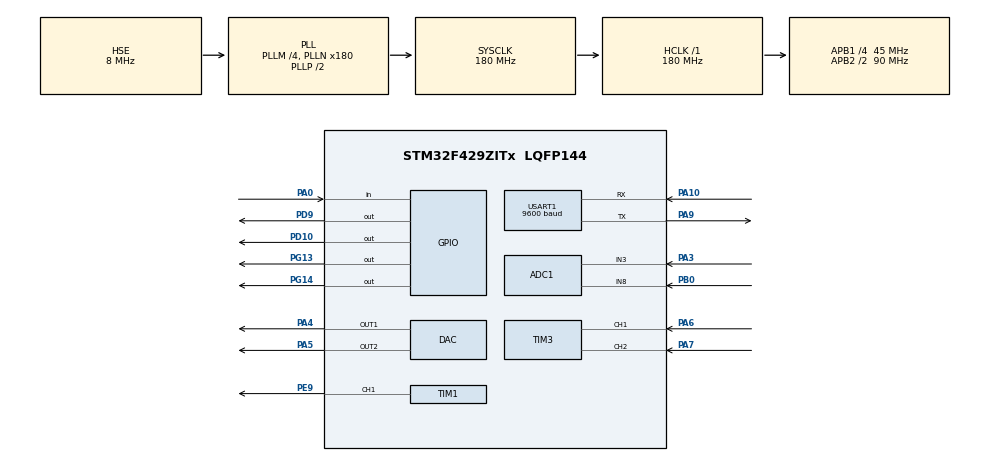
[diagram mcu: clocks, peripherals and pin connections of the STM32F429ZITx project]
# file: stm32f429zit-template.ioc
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ADC1.Channel-0\#ChannelRegularConversion=ADC_CHANNEL_8
ADC1.Channel-8\#ChannelRegularConversion=ADC_CHANNEL_3
ADC1.ContinuousConvMode=DISABLE
ADC1.DMAContinuousRequests=ENABLE
ADC1.EOCSelection=ADC_EOC_SINGLE_CONV
ADC1.ExternalTrigConv=ADC_EXTERNALTRIGCONV_T2_CC2
ADC1.ExternalTrigConvEdge=ADC_EXTERNALTRIGCONVEDGE_FALLING
ADC1.NbrOfConversion=2
ADC1.NbrOfConversionFlag=1
ADC1.Rank-0\#ChannelRegularConversion=1
ADC1.Rank-8\#ChannelRegularConversion=2
ADC1.SamplingTime-0\#ChannelRegularConversion=ADC_SAMPLETIME_15CYCLES
ADC1.SamplingTime-8\#ChannelRegularConversion=ADC_SAMPLETIME_15CYCLES
ADC1.master=1
Dma.ADC1.0.Direction=DMA_PERIPH_TO_MEMORY
Dma.ADC1.0.FIFOMode=DMA_FIFOMODE_DISABLE
Dma.ADC1.0.Instance=DMA2_Stream0
Dma.ADC1.0.MemDataAlignment=DMA_MDATAALIGN_HALFWORD
Dma.ADC1.0.MemInc=DMA_MINC_ENABLE
Dma.ADC1.0.Mode=DMA_CIRCULAR
Dma.ADC1.0.PeriphDataAlignment=DMA_PDATAALIGN_HALFWORD
Dma.ADC1.0.PeriphInc=DMA_PINC_DISABLE
Dma.ADC1.0.Priority=DMA_PRIORITY_LOW
Dma.Request0=ADC1
FREERTOS.Tasks01=defaultTask,24,128,StartDefaultTask,Default,NULL,Dynamic,NULL,NULL
FREERTOS.configUSE_NEWLIB_REENTRANT=1
Mcu.Family=STM32F4
Mcu.Name=STM32F429ZITx
Mcu.Package=LQFP144
NVIC.ADC_IRQn=true\:5\:0\:false\:false\:true\:true\:true\:true\:true
NVIC.DMA2_Stream0_IRQn=true\:5\:0\:false\:false\:true\:true\:false\:true\:true
NVIC.PriorityGroup=NVIC_PRIORITYGROUP_4
NVIC.TIM2_IRQn=true\:5\:0\:false\:false\:true\:true\:true\:true\:true
NVIC.TIM3_IRQn=true\:5\:0\:false\:false\:true\:true\:true\:true\:true
NVIC.TIM6_DAC_IRQn=true\:5\:0\:false\:false\:true\:false\:false\:true\:true
NVIC.TIM7_IRQn=true\:5\:0\:false\:false\:true\:true\:true\:true\:true
NVIC.TIM8_TRG_COM_TIM14_IRQn=true\:15\:0\:false\:false\:true\:false\:false\:true\:true
NVIC.TIM8_UP_TIM13_IRQn=true\:5\:0\:false\:false\:true\:false\:true\:true\:true
NVIC.TimeBase=TIM8_TRG_COM_TIM14_IRQn
NVIC.TimeBaseIP=TIM14
NVIC.USART1_IRQn=true\:5\:0\:false\:false\:true\:true\:true\:true\:true
PA0/WKUP.Signal=GPIO_Input
PA10.Mode=Asynchronous
PA10.Signal=USART1_RX
PA13.Mode=Serial_Wire
PA13.Signal=SYS_JTMS-SWDIO
PA14.Mode=Serial_Wire
PA14.Signal=SYS_JTCK-SWCLK
PA3.Signal=ADCx_IN3
PA4.Signal=COMP_DAC1_group
PA5.Signal=COMP_DAC2_group
PA6.Signal=S_TIM3_CH1
PA7.Signal=S_TIM3_CH2
PA9.Mode=Asynchronous
PA9.Signal=USART1_TX
PB0.Signal=ADCx_IN8
PD10.Signal=GPIO_Output
PD9.Signal=GPIO_Output
PE9.Signal=S_TIM1_CH1
PG13.Signal=GPIO_Output
PG14.Signal=GPIO_Output
PH0/OSC_IN.Mode=HSE-External-Oscillator
PH0/OSC_IN.Signal=RCC_OSC_IN
PH1/OSC_OUT.Mode=HSE-External-Oscillator
PH1/OSC_OUT.Signal=RCC_OSC_OUT
ProjectManager.HeapSize=0x200
ProjectManager.StackSize=0x400
ProjectManager.TargetToolchain=STM32CubeIDE
RCC.48MHZClocksFreq_Value=90000000
RCC.AHBFreq_Value=180000000
RCC.APB1CLKDivider=RCC_HCLK_DIV4
RCC.APB1Freq_Value=45000000
RCC.APB1TimFreq_Value=90000000
RCC.APB2CLKDivider=RCC_HCLK_DIV2
RCC.APB2Freq_Value=90000000
RCC.APB2TimFreq_Value=180000000
RCC.CortexFreq_Value=180000000
RCC.HCLKFreq_Value=180000000
RCC.HSE_VALUE=8000000
RCC.HSI_VALUE=16000000
RCC.LSE_VALUE=32768
RCC.PLLM=4
RCC.PLLN=180
RCC.PLLSourceVirtual=RCC_PLLSOURCE_HSE
RCC.SYSCLKFreq_VALUE=180000000
RCC.SYSCLKSource=RCC_SYSCLKSOURCE_PLLCLK
RCC.VCOOutputFreq_Value=360000000
SH.ADCx_IN3.0=ADC1_IN3,IN3
SH.ADCx_IN8.0=ADC1_IN8,IN8
SH.COMP_DAC1_group.0=DAC_OUT1,DAC_OUT1
SH.COMP_DAC2_group.0=DAC_OUT2,DAC_OUT2
SH.S_TIM1_CH1.0=TIM1_CH1,PWM Generation1 CH1
SH.S_TIM3_CH1.0=TIM3_CH1,Encoder_Interface
SH.S_TIM3_CH2.0=TIM3_CH2,Encoder_Interface
TIM1.Channel-PWM\ Generation1\ CH1=TIM_CHANNEL_1
TIM1.CounterMode=TIM_COUNTERMODE_CENTERALIGNED1
TIM1.TIM_MasterOutputTrigger=TIM_TRGO_UPDATE
TIM1.TIM_MasterSlaveMode=TIM_MASTERSLAVEMODE_ENABLE
TIM13.Period=900-1
TIM2.Channel-PWM\ Generation2\ No\ Output=TIM_CHANNEL_2
TIM3.EncoderMode=TIM_ENCODERMODE_TI12
TIM3.IC1Filter=8
TIM3.IC2Filter=8
TIM7.Period=10-1
TIM7.Prescaler=9000-1
USART1.BaudRate=9600
USART1.VirtualMode=VM_ASYNC
VP_FREERTOS_VS_CMSIS_V2.Mode=CMSIS_V2
VP_SYS_VS_tim14.Mode=TIM14
VP_TIM13_VS_ClockSourceINT.Mode=Enable_Timer
VP_TIM2_VS_ClockSourceITR.Mode=TriggerSource_ITR0
VP_TIM2_VS_ControllerModeReset.Mode=Reset Mode
VP_TIM2_VS_no_output2.Mode=PWM Generation2 No Output
VP_TIM7_VS_ClockSourceINT.Mode=Enable_Timer
board=custom

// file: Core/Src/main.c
/* USER CODE BEGIN Header */
/**
  ******************************************************************************
  * @file           : main.c
  * @brief          : Main program body
  ******************************************************************************
  * @attention
  *
  * Copyright (c) 2024 STMicroelectronics.
  * All rights reserved.
  *
  * This software is licensed under terms that can be found in the LICENSE file
  * in the root directory of this software component.
  * If no LICENSE file comes with this software, it is provided AS-IS.
  *
  ******************************************************************************
  */
/* USER CODE END Header */
#include "main.h"
#include "cmsis_os.h"

/* USER CODE BEGIN Includes */
#include "virtual_motor.h"
#include "arm_math.h"
#include <stdlib.h>
#include <stdbool.h>
#include <string.h>
/* USER CODE END Includes */

/* USER CODE BEGIN PTD */
typedef enum
{
  MODE_OPEN_LOOP = 0,
  MODE_CLOSED_LOOP,
} control_mode_t;

typedef struct
{
  float duty_cycle;
  float meas_current;
  float meas_current_unfiltered;
  float meas_velocity;
  float meas_velocity_unfiltered;
  float meas_velocity_rpm;
  float meas_voltage;
  float target;

  control_mode_t control_mode;
  arm_pid_instance_f32 reg_velocity;
  float target_voltage;
  float target_rpm;

  bool emergency_flag;
} dcmotor_t;

typedef struct
{
  float angle;
  uint32_t capture_cnt;
  int dir;
} encoder_t;
/* USER CODE END PTD */

/* USER CODE BEGIN PD */
#define UART_RX_BUF_SIZE 32
#define UART_TX_BUF_SIZE 64
/* USER CODE END PD */

/* USER CODE BEGIN PM */
#define UTILS_LP_FAST(value, sample, filter_constant) (value -= (filter_constant) * ((value) - (sample)))
/* USER CODE END PM */

ADC_HandleTypeDef hadc1;
DMA_HandleTypeDef hdma_adc1;

DAC_HandleTypeDef hdac;

TIM_HandleTypeDef htim1;
TIM_HandleTypeDef htim2;
TIM_HandleTypeDef htim3;
TIM_HandleTypeDef htim7;
TIM_HandleTypeDef htim13;

UART_HandleTypeDef huart1;

/* Definitions for defaultTask */
osThreadId_t defaultTaskHandle;
const osThreadAttr_t defaultTask_attributes = {
  .name = "defaultTask",
  .stack_size = 128 * 4,
  .priority = (osPriority_t) osPriorityNormal,
};
/* USER CODE BEGIN PV */
uint16_t adc_values[2] = {0};
uint16_t adc_sample_flag = 0;
uint8_t uart_byte = 0;

encoder_t encoder = {0};
dcmotor_t dcmotor = {0};

osThreadId_t voltageMeasTaskHandle;
const osThreadAttr_t voltageMeasTask_attributes = {
  .name = "voltageMeasTask",
  .stack_size = 128 * 2,
  .priority = (osPriority_t) osPriorityNormal1,
};

osThreadId_t btnTaskHandle;
const osThreadAttr_t btnTask_attributes = {
  .name = "btnTask",
  .stack_size = 128 * 1,
  .priority = (osPriority_t) osPriorityNormal1,
};

osThreadId_t emergencyTaskHandle;
const osThreadAttr_t emergencyTask_attributes = {
  .name = "emergencyTask",
  .stack_size = 128 * 2,
  .priority = (osPriority_t) osPriorityHigh,
};

osThreadId_t uartTaskHandle;
const osThreadAttr_t uartTask_attributes = {
  .name = "uartTask",
  .stack_size = 128 * 4,
  .priority = (osPriority_t) osPriorityBelowNormal,
};

/* Объявление очереди сообщений UART */
osMessageQueueId_t uartQueue = NULL;
/* Объявление семафора */
osSemaphoreId_t emergencySem = NULL;
/* USER CODE END PV */

void SystemClock_Config(void);
static void MX_GPIO_Init(void);
static void MX_DMA_Init(void);
static void MX_TIM7_Init(void);
static void MX_TIM1_Init(void);
static void MX_ADC1_Init(void);
static void MX_TIM2_Init(void);
static void MX_TIM3_Init(void);
static void MX_USART1_UART_Init(void);
static void MX_TIM13_Init(void);
static void MX_DAC_Init(void);
void StartDefaultTask(void *argument);

/* USER CODE BEGIN PFP */
int parse_int_command(char *command);
void control_loop();

void voltageMeasTask(void *argument);
void emergencyTask(void *argument);
void uartTask(void *argument);
void btnTask(void *argument);
/* USER CODE END PFP */

int main(void)
{

  /* MCU Configuration--------------------------------------------------------*/

  /* Reset of all peripherals, Initializes the Flash interface and the Systick. */
  HAL_Init();

  /* Configure the system clock */
  SystemClock_Config();

  /* Initialize all configured peripherals */
  MX_GPIO_Init();
  MX_DMA_Init();
  MX_TIM7_Init();
  MX_TIM1_Init();
  MX_ADC1_Init();
  MX_TIM2_Init();
  MX_TIM3_Init();
  MX_USART1_UART_Init();
  MX_TIM13_Init();
  MX_DAC_Init();
  /* USER CODE BEGIN 2 */
  virtual_motor_reinit();

  dcmotor.control_mode = MODE_CLOSED_LOOP;

  dcmotor.reg_velocity.Kp = 0.01f;
  dcmotor.reg_velocity.Ki = 0.00005f;
  dcmotor.reg_velocity.Kd = 0.0f;
  arm_pid_init_f32(&dcmotor.reg_velocity, 1);

  HAL_TIM_Base_Start_IT(&htim7);

  HAL_TIM_Encoder_Start_IT(&htim3, TIM_CHANNEL_1);
  HAL_TIM_Encoder_Start_IT(&htim3, TIM_CHANNEL_2);

  HAL_ADC_Start_DMA(&hadc1, (uint32_t*)adc_values, 2);

  TIM2->PSC = 9 - 1;
  TIM2->CCR2 = 0xf;
  HAL_TIM_PWM_Start_IT(&htim2, TIM_CHANNEL_2);

  TIM1->ARR = (SystemCoreClock / 5000 / 2) - 1; // 5 KHz PWM
  TIM1->CCR1 = (uint16_t)(0.25f * (float)TIM1->ARR);
  HAL_TIM_PWM_Start(&htim1, TIM_CHANNEL_1);

  HAL_UART_Receive_IT(&huart1, &uart_byte, sizeof(uart_byte));
  /* USER CODE END 2 */

  /* Init scheduler */
  osKernelInitialize();

  /* USER CODE BEGIN RTOS_SEMAPHORES */
  /* add semaphores, ... */
  emergencySem = osSemaphoreNew(1, 0, NULL);
  /* USER CODE END RTOS_SEMAPHORES */

  /* USER CODE BEGIN RTOS_QUEUES */
  /* add queues, ... */
  // Создаем очередь для UART сообщений
  uartQueue = osMessageQueueNew(5, UART_RX_BUF_SIZE, NULL);
  /* USER CODE END RTOS_QUEUES */

  /* Create the thread(s) */
  /* creation of defaultTask */
  defaultTaskHandle = osThreadNew(StartDefaultTask, NULL, &defaultTask_attributes);

  /* USER CODE BEGIN RTOS_THREADS */
  /* add threads, ... */
  // add freertos time measurements
  emergencyTaskHandle = osThreadNew(emergencyTask, NULL, &emergencyTask_attributes);
  uartTaskHandle = osThreadNew(uartTask, NULL, &uartTask_attributes);
  btnTaskHandle = osThreadNew(btnTask, NULL, &btnTask_attributes);
  voltageMeasTaskHandle = osThreadNew(voltageMeasTask, NULL, &voltageMeasTask_attributes);
  /* USER CODE END RTOS_THREADS */

  /* Start scheduler */
  osKernelStart();

  /* We should never get here as control is now taken by the scheduler */
  /* Infinite loop */
  while (1)
  {

  }
}

void SystemClock_Config(void)
{
  RCC_OscInitTypeDef RCC_OscInitStruct = {0};
  RCC_ClkInitTypeDef RCC_ClkInitStruct = {0};

  /** Configure the main internal regulator output voltage
  */
  __HAL_RCC_PWR_CLK_ENABLE();
  __HAL_PWR_VOLTAGESCALING_CONFIG(PWR_REGULATOR_VOLTAGE_SCALE1);

  /** Initializes the RCC Oscillators according to the specified parameters
  * in the RCC_OscInitTypeDef structure.
  */
  RCC_OscInitStruct.OscillatorType = RCC_OSCILLATORTYPE_HSE;
  RCC_OscInitStruct.HSEState = RCC_HSE_ON;
  RCC_OscInitStruct.PLL.PLLState = RCC_PLL_ON;
  RCC_OscInitStruct.PLL.PLLSource = RCC_PLLSOURCE_HSE;
  RCC_OscInitStruct.PLL.PLLM = 4;
  RCC_OscInitStruct.PLL.PLLN = 180;
  RCC_OscInitStruct.PLL.PLLP = RCC_PLLP_DIV2;
  RCC_OscInitStruct.PLL.PLLQ = 4;
  if (HAL_RCC_OscConfig(&RCC_OscInitStruct) != HAL_OK)
  {
    Error_Handler();
  }

  /** Activate the Over-Drive mode
  */
  if (HAL_PWREx_EnableOverDrive() != HAL_OK)
  {
    Error_Handler();
  }

  /** Initializes the CPU, AHB and APB buses clocks
  */
  RCC_ClkInitStruct.ClockType = RCC_CLOCKTYPE_HCLK|RCC_CLOCKTYPE_SYSCLK
                              |RCC_CLOCKTYPE_PCLK1|RCC_CLOCKTYPE_PCLK2;
  RCC_ClkInitStruct.SYSCLKSource = RCC_SYSCLKSOURCE_PLLCLK;
  RCC_ClkInitStruct.AHBCLKDivider = RCC_SYSCLK_DIV1;
  RCC_ClkInitStruct.APB1CLKDivider = RCC_HCLK_DIV4;
  RCC_ClkInitStruct.APB2CLKDivider = RCC_HCLK_DIV2;

  if (HAL_RCC_ClockConfig(&RCC_ClkInitStruct, FLASH_LATENCY_5) != HAL_OK)
  {
    Error_Handler();
  }
}

static void MX_ADC1_Init(void)
{

  ADC_ChannelConfTypeDef sConfig = {0};

  /** Configure the global features of the ADC (Clock, Resolution, Data Alignment and number of conversion)
  */
  hadc1.Instance = ADC1;
  hadc1.Init.ClockPrescaler = ADC_CLOCK_SYNC_PCLK_DIV4;
  hadc1.Init.Resolution = ADC_RESOLUTION_12B;
  hadc1.Init.ScanConvMode = ENABLE;
  hadc1.Init.ContinuousConvMode = DISABLE;
  hadc1.Init.DiscontinuousConvMode = DISABLE;
  hadc1.Init.ExternalTrigConvEdge = ADC_EXTERNALTRIGCONVEDGE_FALLING;
  hadc1.Init.ExternalTrigConv = ADC_EXTERNALTRIGCONV_T2_CC2;
  hadc1.Init.DataAlign = ADC_DATAALIGN_RIGHT;
  hadc1.Init.NbrOfConversion = 2;
  hadc1.Init.DMAContinuousRequests = ENABLE;
  hadc1.Init.EOCSelection = ADC_EOC_SINGLE_CONV;
  if (HAL_ADC_Init(&hadc1) != HAL_OK)
  {
    Error_Handler();
  }

  /** Configure for the selected ADC regular channel its corresponding rank in the sequencer and its sample time.
  */
  sConfig.Channel = ADC_CHANNEL_8;
  sConfig.Rank = 1;
  sConfig.SamplingTime = ADC_SAMPLETIME_15CYCLES;
  if (HAL_ADC_ConfigChannel(&hadc1, &sConfig) != HAL_OK)
  {
    Error_Handler();
  }

  /** Configure for the selected ADC regular channel its corresponding rank in the sequencer and its sample time.
  */
  sConfig.Channel = ADC_CHANNEL_3;
  sConfig.Rank = 2;
  if (HAL_ADC_ConfigChannel(&hadc1, &sConfig) != HAL_OK)
  {
    Error_Handler();
  }

}

static void MX_DAC_Init(void)
{

  DAC_ChannelConfTypeDef sConfig = {0};

  /** DAC Initialization
  */
  hdac.Instance = DAC;
  if (HAL_DAC_Init(&hdac) != HAL_OK)
  {
    Error_Handler();
  }

  /** DAC channel OUT1 config
  */
  sConfig.DAC_Trigger = DAC_TRIGGER_NONE;
  sConfig.DAC_OutputBuffer = DAC_OUTPUTBUFFER_ENABLE;
  if (HAL_DAC_ConfigChannel(&hdac, &sConfig, DAC_CHANNEL_1) != HAL_OK)
  {
    Error_Handler();
  }

  /** DAC channel OUT2 config
  */
  if (HAL_DAC_ConfigChannel(&hdac, &sConfig, DAC_CHANNEL_2) != HAL_OK)
  {
    Error_Handler();
  }

}

static void MX_TIM1_Init(void)
{

  TIM_MasterConfigTypeDef sMasterConfig = {0};
  TIM_OC_InitTypeDef sConfigOC = {0};
  TIM_BreakDeadTimeConfigTypeDef sBreakDeadTimeConfig = {0};

  htim1.Instance = TIM1;
  htim1.Init.Prescaler = 0;
  htim1.Init.CounterMode = TIM_COUNTERMODE_CENTERALIGNED1;
  htim1.Init.Period = 65535;
  htim1.Init.ClockDivision = TIM_CLOCKDIVISION_DIV1;
  htim1.Init.RepetitionCounter = 0;
  htim1.Init.AutoReloadPreload = TIM_AUTORELOAD_PRELOAD_DISABLE;
  if (HAL_TIM_PWM_Init(&htim1) != HAL_OK)
  {
    Error_Handler();
  }
  sMasterConfig.MasterOutputTrigger = TIM_TRGO_UPDATE;
  sMasterConfig.MasterSlaveMode = TIM_MASTERSLAVEMODE_ENABLE;
  if (HAL_TIMEx_MasterConfigSynchronization(&htim1, &sMasterConfig) != HAL_OK)
  {
    Error_Handler();
  }
  sConfigOC.OCMode = TIM_OCMODE_PWM1;
  sConfigOC.Pulse = 0;
  sConfigOC.OCPolarity = TIM_OCPOLARITY_HIGH;
  sConfigOC.OCNPolarity = TIM_OCNPOLARITY_HIGH;
  sConfigOC.OCFastMode = TIM_OCFAST_DISABLE;
  sConfigOC.OCIdleState = TIM_OCIDLESTATE_RESET;
  sConfigOC.OCNIdleState = TIM_OCNIDLESTATE_RESET;
  if (HAL_TIM_PWM_ConfigChannel(&htim1, &sConfigOC, TIM_CHANNEL_1) != HAL_OK)
  {
    Error_Handler();
  }
  sBreakDeadTimeConfig.OffStateRunMode = TIM_OSSR_DISABLE;
  sBreakDeadTimeConfig.OffStateIDLEMode = TIM_OSSI_DISABLE;
  sBreakDeadTimeConfig.LockLevel = TIM_LOCKLEVEL_OFF;
  sBreakDeadTimeConfig.DeadTime = 0;
  sBreakDeadTimeConfig.BreakState = TIM_BREAK_DISABLE;
  sBreakDeadTimeConfig.BreakPolarity = TIM_BREAKPOLARITY_HIGH;
  sBreakDeadTimeConfig.AutomaticOutput = TIM_AUTOMATICOUTPUT_DISABLE;
  if (HAL_TIMEx_ConfigBreakDeadTime(&htim1, &sBreakDeadTimeConfig) != HAL_OK)
  {
    Error_Handler();
  }
  HAL_TIM_MspPostInit(&htim1);

}

static void MX_TIM2_Init(void)
{

  TIM_SlaveConfigTypeDef sSlaveConfig = {0};
  TIM_MasterConfigTypeDef sMasterConfig = {0};
  TIM_OC_InitTypeDef sConfigOC = {0};

  htim2.Instance = TIM2;
  htim2.Init.Prescaler = 0;
  htim2.Init.CounterMode = TIM_COUNTERMODE_UP;
  htim2.Init.Period = 4294967295;
  htim2.Init.ClockDivision = TIM_CLOCKDIVISION_DIV1;
  htim2.Init.AutoReloadPreload = TIM_AUTORELOAD_PRELOAD_DISABLE;
  if (HAL_TIM_Base_Init(&htim2) != HAL_OK)
  {
    Error_Handler();
  }
  if (HAL_TIM_PWM_Init(&htim2) != HAL_OK)
  {
    Error_Handler();
  }
  sSlaveConfig.SlaveMode = TIM_SLAVEMODE_RESET;
  sSlaveConfig.InputTrigger = TIM_TS_ITR0;
  if (HAL_TIM_SlaveConfigSynchro(&htim2, &sSlaveConfig) != HAL_OK)
  {
    Error_Handler();
  }
  sMasterConfig.MasterOutputTrigger = TIM_TRGO_RESET;
  sMasterConfig.MasterSlaveMode = TIM_MASTERSLAVEMODE_DISABLE;
  if (HAL_TIMEx_MasterConfigSynchronization(&htim2, &sMasterConfig) != HAL_OK)
  {
    Error_Handler();
  }
  sConfigOC.OCMode = TIM_OCMODE_PWM1;
  sConfigOC.Pulse = 0;
  sConfigOC.OCPolarity = TIM_OCPOLARITY_HIGH;
  sConfigOC.OCFastMode = TIM_OCFAST_DISABLE;
  if (HAL_TIM_PWM_ConfigChannel(&htim2, &sConfigOC, TIM_CHANNEL_2) != HAL_OK)
  {
    Error_Handler();
  }

}

static void MX_TIM3_Init(void)
{

  TIM_Encoder_InitTypeDef sConfig = {0};
  TIM_MasterConfigTypeDef sMasterConfig = {0};

  htim3.Instance = TIM3;
  htim3.Init.Prescaler = 0;
  htim3.Init.CounterMode = TIM_COUNTERMODE_UP;
  htim3.Init.Period = 65535;
  htim3.Init.ClockDivision = TIM_CLOCKDIVISION_DIV1;
  htim3.Init.AutoReloadPreload = TIM_AUTORELOAD_PRELOAD_DISABLE;
  sConfig.EncoderMode = TIM_ENCODERMODE_TI12;
  sConfig.IC1Polarity = TIM_ICPOLARITY_RISING;
  sConfig.IC1Selection = TIM_ICSELECTION_DIRECTTI;
  sConfig.IC1Prescaler = TIM_ICPSC_DIV1;
  sConfig.IC1Filter = 8;
  sConfig.IC2Polarity = TIM_ICPOLARITY_RISING;
  sConfig.IC2Selection = TIM_ICSELECTION_DIRECTTI;
  sConfig.IC2Prescaler = TIM_ICPSC_DIV1;
  sConfig.IC2Filter = 8;
  if (HAL_TIM_Encoder_Init(&htim3, &sConfig) != HAL_OK)
  {
    Error_Handler();
  }
  sMasterConfig.MasterOutputTrigger = TIM_TRGO_RESET;
  sMasterConfig.MasterSlaveMode = TIM_MASTERSLAVEMODE_DISABLE;
  if (HAL_TIMEx_MasterConfigSynchronization(&htim3, &sMasterConfig) != HAL_OK)
  {
    Error_Handler();
  }

}

static void MX_TIM7_Init(void)
{

  TIM_MasterConfigTypeDef sMasterConfig = {0};

  htim7.Instance = TIM7;
  htim7.Init.Prescaler = 9000-1;
  htim7.Init.CounterMode = TIM_COUNTERMODE_UP;
  htim7.Init.Period = 10-1;
  htim7.Init.AutoReloadPreload = TIM_AUTORELOAD_PRELOAD_DISABLE;
  if (HAL_TIM_Base_Init(&htim7) != HAL_OK)
  {
    Error_Handler();
  }
  sMasterConfig.MasterOutputTrigger = TIM_TRGO_RESET;
  sMasterConfig.MasterSlaveMode = TIM_MASTERSLAVEMODE_DISABLE;
  if (HAL_TIMEx_MasterConfigSynchronization(&htim7, &sMasterConfig) != HAL_OK)
  {
    Error_Handler();
  }

}

static void MX_TIM13_Init(void)
{

  htim13.Instance = TIM13;
  htim13.Init.Prescaler = 0;
  htim13.Init.CounterMode = TIM_COUNTERMODE_UP;
  htim13.Init.Period = 900-1;
  htim13.Init.ClockDivision = TIM_CLOCKDIVISION_DIV1;
  htim13.Init.AutoReloadPreload = TIM_AUTORELOAD_PRELOAD_DISABLE;
  if (HAL_TIM_Base_Init(&htim13) != HAL_OK)
  {
    Error_Handler();
  }

}

static void MX_USART1_UART_Init(void)
{

  huart1.Instance = USART1;
  huart1.Init.BaudRate = 9600;
  huart1.Init.WordLength = UART_WORDLENGTH_8B;
  huart1.Init.StopBits = UART_STOPBITS_1;
  huart1.Init.Parity = UART_PARITY_NONE;
  huart1.Init.Mode = UART_MODE_TX_RX;
  huart1.Init.HwFlowCtl = UART_HWCONTROL_NONE;
  huart1.Init.OverSampling = UART_OVERSAMPLING_16;
  if (HAL_UART_Init(&huart1) != HAL_OK)
  {
    Error_Handler();
  }

}

static void MX_DMA_Init(void)
{

  /* DMA controller clock enable */
  __HAL_RCC_DMA2_CLK_ENABLE();

  /* DMA interrupt init */
  /* DMA2_Stream0_IRQn interrupt configuration */
  HAL_NVIC_SetPriority(DMA2_Stream0_IRQn, 5, 0);
  HAL_NVIC_EnableIRQ(DMA2_Stream0_IRQn);

}

static void MX_GPIO_Init(void)
{
  GPIO_InitTypeDef GPIO_InitStruct = {0};

  /* GPIO Ports Clock Enable */
  __HAL_RCC_GPIOH_CLK_ENABLE();
  __HAL_RCC_GPIOA_CLK_ENABLE();
  __HAL_RCC_GPIOB_CLK_ENABLE();
  __HAL_RCC_GPIOE_CLK_ENABLE();
  __HAL_RCC_GPIOD_CLK_ENABLE();
  __HAL_RCC_GPIOG_CLK_ENABLE();

  /*Configure GPIO pin Output Level */
  HAL_GPIO_WritePin(GPIOD, GPIO_PIN_9|GPIO_PIN_10, GPIO_PIN_RESET);

  /*Configure GPIO pin Output Level */
  HAL_GPIO_WritePin(GPIOG, GPIO_PIN_13|GPIO_PIN_14, GPIO_PIN_RESET);

  /*Configure GPIO pin : PA0 */
  GPIO_InitStruct.Pin = GPIO_PIN_0;
  GPIO_InitStruct.Mode = GPIO_MODE_INPUT;
  GPIO_InitStruct.Pull = GPIO_NOPULL;
  HAL_GPIO_Init(GPIOA, &GPIO_InitStruct);

  /*Configure GPIO pins : PD9 PD10 */
  GPIO_InitStruct.Pin = GPIO_PIN_9|GPIO_PIN_10;
  GPIO_InitStruct.Mode = GPIO_MODE_OUTPUT_PP;
  GPIO_InitStruct.Pull = GPIO_NOPULL;
  GPIO_InitStruct.Speed = GPIO_SPEED_FREQ_LOW;
  HAL_GPIO_Init(GPIOD, &GPIO_InitStruct);

  /*Configure GPIO pins : PG13 PG14 */
  GPIO_InitStruct.Pin = GPIO_PIN_13|GPIO_PIN_14;
  GPIO_InitStruct.Mode = GPIO_MODE_OUTPUT_PP;
  GPIO_InitStruct.Pull = GPIO_NOPULL;
  GPIO_InitStruct.Speed = GPIO_SPEED_FREQ_LOW;
  HAL_GPIO_Init(GPIOG, &GPIO_InitStruct);

}

/* USER CODE BEGIN 4 */
void HAL_UART_RxCpltCallback(UART_HandleTypeDef *huart)
{
  static char rx_buf[UART_RX_BUF_SIZE] = {0};
  static int rx_buf_idx = 0;

  if (huart != &huart1)
  {
    return;
  }

  if (rx_buf_idx >= UART_RX_BUF_SIZE)
  {
    // Произошло переполнение буфера
    rx_buf_idx = 0;
    memset((void *)rx_buf, 0, UART_RX_BUF_SIZE);
  }

  rx_buf[rx_buf_idx++] = uart_byte;

  if ((rx_buf_idx > 2) && (rx_buf[rx_buf_idx - 2] == '\r') && (rx_buf[rx_buf_idx - 1] == '\n'))
  {
	// Записываем сообщение в очередь
	osMessageQueuePut(uartQueue, (void*) rx_buf, 0, 0);

	// Очищаем буфер
    rx_buf_idx = 0;
    memset((void *)rx_buf, 0, UART_RX_BUF_SIZE);
  }

  // Снова включаем приём 1 байта по прерыванию
  HAL_UART_Receive_IT(&huart1, &uart_byte, sizeof(uart_byte));
}

void HAL_TIM_IC_CaptureCallback(TIM_HandleTypeDef *htim)
{
  if (htim == &htim3)
  {
    if (htim3.Channel == HAL_TIM_ACTIVE_CHANNEL_1)
    {
      encoder.capture_cnt++;
      if (TIM3->CR1 & TIM_CR1_DIR)
      {
        encoder.dir = -1;
      }
      else
      {
        encoder.dir = 1;
      }
    }
  }
}

void HAL_ADC_ConvCpltCallback(ADC_HandleTypeDef *hadc) {

	if (hadc == &hadc1) {
		if (!(TIM1->CR1 & TIM_CR1_DIR)) {
			adc_sample_flag = (adc_sample_flag == 0) ? (0xfff + 0xff) : 0;

			/*
			    ADC step voltage = 3.3 / 4096 ≈ 0.00080586 V per step
			    I = (min) + (V_ADC / 3.3) * (max - min)
			    V_ADC = ADC_value * 0.00080586
			    I = -50 + ((ADC_value * 0.00080586) / 3.3) * 100
			    I = -50 + (ADC_value * 0.00080586 * 100) / 3.3
			    I = -50 + ADC_value * 0.0244
			 */
			dcmotor.meas_current_unfiltered = -50.0f + adc_values[0] * 0.0244f;
			UTILS_LP_FAST(dcmotor.meas_current, dcmotor.meas_current_unfiltered, 0.01f);

			if (dcmotor.meas_current > 10.0f && !dcmotor.emergency_flag) {
				osSemaphoreRelease(emergencySem);
			}
		}
	}
}

void control_loop() {
	if (dcmotor.target == 0.0f || dcmotor.emergency_flag)
	{
		dcmotor.target_voltage = 0.0f;
		dcmotor.duty_cycle = 0.0f;
		TIM1->CCR1 = 0;
		return;
	}
	switch (dcmotor.control_mode)
	{
	case MODE_OPEN_LOOP:
	{
		dcmotor.target_voltage = V_BUS * dcmotor.target;
		dcmotor.duty_cycle = dcmotor.target;
		break;
	}
	case MODE_CLOSED_LOOP:
	{
		dcmotor.target_rpm = (dcmotor.target * RPM_MAX);
		float target_vel = dcmotor.target_rpm / 9.549297f;

		arm_pid_f32(&dcmotor.reg_velocity, target_vel - dcmotor.meas_velocity);
		if (dcmotor.reg_velocity.state[2] > V_BUS)
		{
			dcmotor.reg_velocity.state[2] = V_BUS;
		}
		else if (dcmotor.reg_velocity.state[2] < 0.0f)
		{
			dcmotor.reg_velocity.state[2] = 0.0f;
		}
		dcmotor.target_voltage = dcmotor.reg_velocity.state[2];
		dcmotor.duty_cycle = dcmotor.target_voltage / V_BUS;
		break;
	}
	}

	TIM1->CCR1 = (uint16_t)(dcmotor.duty_cycle * (float)TIM1->ARR);
}

int parse_int_command(char *command)
{
  // Find the first underscore
  const char *first_underscore = strchr(command, '_');
  if (first_underscore)
  {
    // Find the second underscore
    const char *second_underscore = strchr(first_underscore + 1, '_');
    if (second_underscore)
    {
      const char *num_str = second_underscore + 1;
      int num = atoi(num_str);

      // Validate the range of the integer
      if (num >= 0 && num <= 100)
      {
        return num;
      }
    }
  }
  return -1;
}

// TASKS

void voltageMeasTask(void *argument) {

	while (1) {
		uint16_t adc = adc_values[1];
		dcmotor.meas_voltage = (adc / 4095.0f) * 3.3f;
		osDelay(1);
	}
}

void btnTask(void *argument) {
	while (1) {
		if (HAL_GPIO_ReadPin(GPIOA, GPIO_PIN_0) && !dcmotor.emergency_flag) {
			osSemaphoreRelease(emergencySem);
		}
		osDelay(50);
	}
}

void emergencyTask(void *argument) {
	while (1) {
		if (osSemaphoreAcquire(emergencySem, portMAX_DELAY) == osOK) {
			HAL_TIM_PWM_Stop(&htim1, TIM_CHANNEL_1);
			TIM1->CCR1 = 0;
			dcmotor.duty_cycle = 0.0f;
			dcmotor.emergency_flag = true;
		}
	}
}

void uartTask(void *argument) {
	char rx_buf[UART_RX_BUF_SIZE] = {0};
	char tx_buf[UART_TX_BUF_SIZE] = {0};

	while (1) {
		if (osMessageQueueGet(uartQueue, (void *) rx_buf, NULL, portMAX_DELAY) == osOK) {
			// Задача "вытаскивает" сообщение из очереди и обрабатывает его

			// Очистка буфера отправки
			memset((void *)tx_buf, 0, UART_TX_BUF_SIZE);

			if (!strcmp(rx_buf, "vm_connect\r\n"))
			{
				const char msg[] = "virtual motor connected\r\n";
				memcpy((void *)tx_buf, (void *)msg, sizeof(msg));
				HAL_UART_Transmit(&huart1, (void *)tx_buf, strlen(tx_buf), 100);

				virtual_motor_commander(VM_CONNECT);
			}
			else if (!strcmp(rx_buf, "vm_disconnect\r\n"))
			{
				const char msg[] = "virtual motor disconnected\r\n";
				memcpy((void *)tx_buf, (void *)msg, sizeof(msg));
				HAL_UART_Transmit(&huart1, (void *)tx_buf, strlen(tx_buf), 100);

				virtual_motor_commander(VM_DISCONNECT);
			}
			else if (!strcmp(rx_buf, "vm_load_inc\r\n"))
			{
				const char msg[] = "virtual motor load torque increased\r\n";
				memcpy((void *)tx_buf, (void *)msg, sizeof(msg));
				HAL_UART_Transmit(&huart1, (void *)tx_buf, strlen(tx_buf), 100);

				virtual_motor_commander(VM_LOAD_INC);
			}
			else if (!strcmp(rx_buf, "vm_load_dec\r\n"))
			{
				const char msg[] = "virtual motor load torque decreased\r\n";
				memcpy((void *)tx_buf, (void *)msg, sizeof(msg));
				HAL_UART_Transmit(&huart1, (void *)tx_buf, strlen(tx_buf), 100);

				virtual_motor_commander(VM_LOAD_DEC);
			}
			else if (strstr(rx_buf, "set_mode"))
			{
				int mode = parse_int_command(rx_buf);
				if (mode != -1)
				{
					// TODO: check enumeration
					dcmotor.control_mode = mode;
				}
			}
			else if (strstr(rx_buf, "set_target"))
			{
				int target = parse_int_command(rx_buf);
				if (target != -1)
				{
					dcmotor.target = (float)target * 0.01f;
				}
			}
			else
			{
				const char msg[] = "unknown command!\r\n";
				memcpy((void *)tx_buf, (void *)msg, sizeof(msg));
				HAL_UART_Transmit(&huart1, (void *)tx_buf, strlen(tx_buf), 100);
			}

		}
	}
}

/* USER CODE END 4 */

void StartDefaultTask(void *argument)
{
  /* USER CODE BEGIN 5 */
  /* Infinite loop */
  for(;;)
  {
	if (dcmotor.emergency_flag) {
		HAL_GPIO_WritePin(GPIOG, GPIO_PIN_14, GPIO_PIN_SET);
		HAL_GPIO_WritePin(GPIOG, GPIO_PIN_13, GPIO_PIN_RESET);
	} else {
		HAL_GPIO_TogglePin(GPIOG, GPIO_PIN_13);
	}
    osDelay(1000);
  }
  /* USER CODE END 5 */
}

void HAL_TIM_PeriodElapsedCallback(TIM_HandleTypeDef *htim)
{
  /* USER CODE BEGIN Callback 0 */
	// Этот обратный вызов автоматически вызывается HAL при возникновении события UEV
	// Передача управления HAL, который обрабатывает IRQ
	static uint32_t enc_capture_cnt_prev = 0;
	static uint32_t enc_cutback_cnt = 0;
  /* USER CODE END Callback 0 */
  if (htim->Instance == TIM14) {
    HAL_IncTick();
  }
  /* USER CODE BEGIN Callback 1 */
	else if (htim == &htim7) {
		if (enc_cutback_cnt++ >= 1000)
		{
			dcmotor.meas_velocity = 0.0f;
			dcmotor.meas_velocity_rpm = 0.0f;
			dcmotor.meas_velocity_unfiltered = 0.0f;
			enc_cutback_cnt = 0;
		}

		if (encoder.capture_cnt != enc_capture_cnt_prev)
		{
			const float angle_per_pulse = (2.0f * PI) / (float)ENCODER_PPR;
			int32_t enc_capture_diff = abs(encoder.capture_cnt - enc_capture_cnt_prev);
			dcmotor.meas_velocity_unfiltered = (float)encoder.dir * ((float)enc_capture_diff * angle_per_pulse) / ((float)enc_cutback_cnt / 1000.0f);
			UTILS_LP_FAST(dcmotor.meas_velocity, dcmotor.meas_velocity_unfiltered, 0.1f);
			dcmotor.meas_velocity_rpm = dcmotor.meas_velocity * 9.549297f;

			enc_capture_cnt_prev = encoder.capture_cnt;
			enc_cutback_cnt = 0;
		}

		control_loop();

	} else if (htim == &htim13) {
		virtual_motor_run(dcmotor.duty_cycle);
	}
  /* USER CODE END Callback 1 */
}

void Error_Handler(void)
{
  __disable_irq();
  while (1)
  {
  }
}
